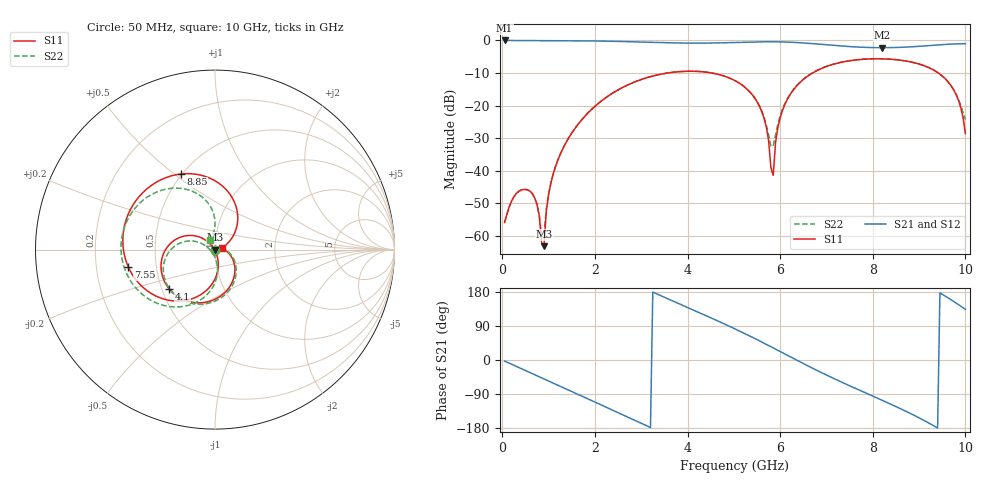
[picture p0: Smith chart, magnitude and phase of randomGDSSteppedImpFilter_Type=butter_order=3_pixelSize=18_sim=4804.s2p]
! freq	dB(S11)	phase(S11)	dB(S12)	phase(S12)
!  dB(S21)	phase(S21)	dB(S22)	phase(S22)
!S-par simulation data
#  GHz  S  DB  R 50
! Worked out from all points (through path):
!   200 points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, 50 MHz to 10 GHz, reference 50 ohm
!   highest |S21| = -0.01 dB at 50 MHz (marker M1); lowest = -2.2 dB at 8.2 GHz (marker M2)
!   group delay of S21, straight-line fit = 160 ps
!   lowest |S11| = -63.2 dB at 900 MHz (marker M3), VSWR 1.00, Z = 50 + j0.0512 ohm
!   |S11| at or under -10 dB: start of sweep to 3.578 GHz; 4.517 GHz to 6.702 GHz (2.185 GHz wide, 38.9 % of centre); 9.415 GHz to end of sweep
!   |S22| runs from -60.3 to -5.6 dB; largest |S21 - S12| = 0
!   S11 on the Smith chart (normalised r, x): 50 MHz: 1.00, -0.00; 4.1 GHz: 0.55, -0.27; 7.55 GHz: 0.34, -0.09; 8.85 GHz: 0.49, +0.53; 10 GHz: 1.08, +0.01
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0.05  -55.94 -39.6  -0.01 -2.8  -0.01 -2.8  -55.96 -39.6
0.3  -47.06 -95.0  -0.03 -16.6  -0.03 -16.6  -47.14 -95.6
0.6  -46.31 -122.6  -0.05 -33.2  -0.05 -33.2  -46.40 -124.6
0.9  -63.22 47.8  -0.06 -49.7  -0.06 -49.7  -59.57 88.4
0.95  -52.50 38.5  -0.06 -52.5  -0.06 -52.5  -51.88 55.9
1.1  -41.04 28.9  -0.07 -60.8  -0.07 -60.8  -40.92 35.9
1.75  -23.83 -8.2  -0.13 -97.0  -0.13 -97.0  -23.79 -4.7
2.65  -14.09 -59.5  -0.36 -147.6  -0.36 -147.6  -14.07 -55.6
3.4  -10.45 -101.3  -0.66 171.0  -0.66 171.0  -10.44 -96.5
4.1  -9.47 -139.3  -0.84 133.2  -0.84 133.2  -9.46 -133.2
5.05  -12.56 168.0  -0.62 80.6  -0.62 80.6  -12.54 177.6
5.6  -21.76 135.9  -0.43 47.6  -0.43 47.6  -21.55 155.5
5.85  -41.47 -84.8  -0.41 31.9  -0.41 31.9  -32.52 -122.8
5.9  -31.45 -72.2  -0.42 28.7  -0.42 28.7  -29.03 -96.4
6.05  -21.53 -77.3  -0.46 19.2  -0.46 19.2  -21.13 -81.7
6.7  -10.01 -117.7  -0.99 -21.7  -0.99 -21.7  -9.94 -110.8
7.55  -6.15 -168.5  -1.94 -70.7  -1.94 -70.7  -6.11 -156.3
8.2  -5.66 154.2  -2.24 -106.1  -2.24 -106.1  -5.63 170.8
8.35  -5.75 145.4  -2.22 -114.4  -2.22 -114.4  -5.73 163.2
8.85  -6.70 114.4  -1.95 -143.3  -1.95 -143.3  -6.71 137.0
9.65  -13.13 54.8  -1.16 162.1  -1.16 162.1  -13.17 93.8
10  -28.62 10.7  -1.03 133.8  -1.03 133.8  -24.27 116.4
